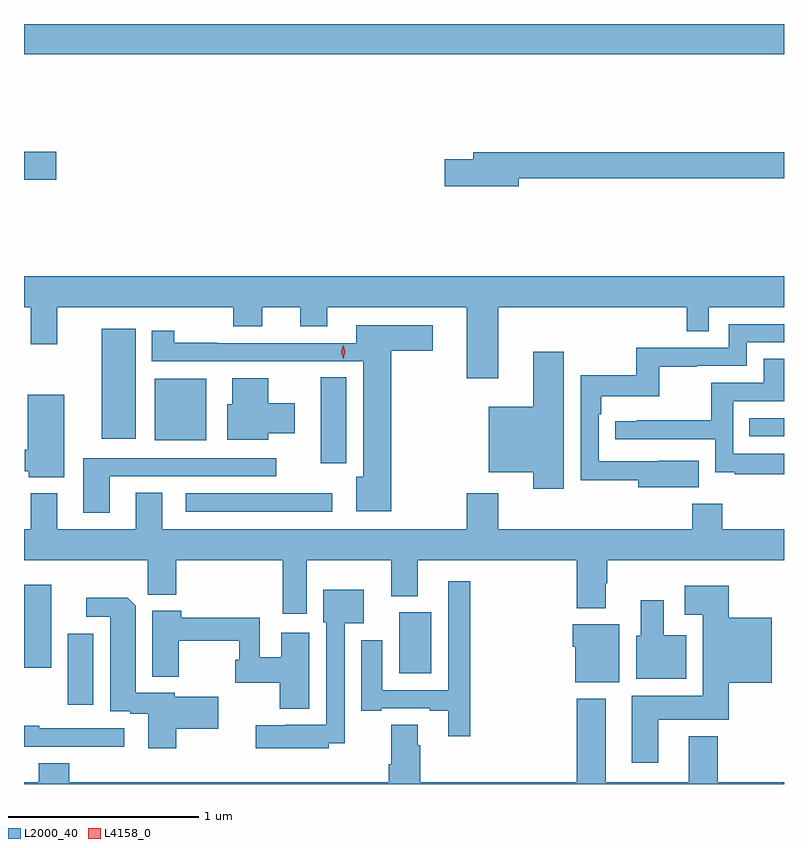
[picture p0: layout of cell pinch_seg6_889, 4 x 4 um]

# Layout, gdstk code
import gdstk
lib = gdstk.Library(unit=1e-6, precision=1e-09)
def R(c, l, rs):  # rectangles x0, y0, x1, y1
    for r in rs: c.add(gdstk.rectangle(r[:2], r[2:], *l))
def P(c, l, *ps):  # polygons
    for p in ps: c.add(gdstk.Polygon(p, *l))
L2000_40 = (2000, 40)
L4158_0 = (4158, 0)

pinch_seg6_889 = lib.new_cell('pinch_seg6_889')
R(pinch_seg6_889, L2000_40, [(366.704,922.599,366.838,922.975), (368.447,922.766,368.617,923.086), (366.473,922.794,366.616,923.233), (367.323,923.616,368.095,923.712), (368.036,923.871,368.17,924.323), (367.16,923.993,367.432,924.316), (366.881,923.999,367.06,924.58), (370.291,924.012,370.473,924.108), (366.473,925.364,366.643,925.511), (366.473,926.024,370.473,926.183)])
P(pinch_seg6_889, L2000_40, [(369.076,925.372),(370.473,925.372),(370.473,925.508),(368.837,925.508),(368.837,925.472),(368.688,925.472),(368.688,925.33),(369.076,925.33)],
  [(366.473,924.692),(366.509,924.692),(366.509,924.498),(366.649,924.498),(366.649,924.692),(367.574,924.692),(367.574,924.593),(367.726,924.593),(367.726,924.692),(367.928,924.692),(367.928,924.593),(368.068,924.593),(368.068,924.692),(368.804,924.692),(368.804,924.318),(368.968,924.318),(368.968,924.692),(369.961,924.692),(369.961,924.565),(370.077,924.565),(370.077,924.692),(370.473,924.692),(370.473,924.856),(366.473,924.856)],
  [(370.025,923.884),(369.811,923.884),(369.811,923.883),(369.498,923.883),(369.498,924.128),(369.512,924.128),(369.512,924.224),(369.817,924.224),(369.817,924.379),(370.013,924.379),(370.013,924.384),(370.278,924.384),(370.278,924.507),(370.473,924.507),(370.473,924.603),(370.182,924.603),(370.182,924.48),(369.696,924.48),(369.696,924.334),(369.402,924.334),(369.402,923.782),(369.707,923.782),(369.707,923.744),(370.025,923.744)],
  [(368.405,924.464),(368.623,924.464),(368.623,924.598),(368.222,924.598),(368.222,924.504),(367.49,924.504),(367.49,924.506),(367.263,924.506),(367.263,924.568),(367.145,924.568),(367.145,924.408),(368.258,924.408),(368.258,923.8),(368.222,923.8),(368.222,923.618),(368.405,923.618)],
  [(369.313,924.457),(369.152,924.457),(369.152,924.169),(368.918,924.169),(368.918,923.825),(369.152,923.825),(369.152,923.736),(369.313,923.736)],
  [(370.473,923.922),(370.206,923.922),(370.206,924.198),(370.473,924.198),(370.473,924.422),(370.367,924.422),(370.367,924.294),(370.09,924.294),(370.09,924.098),(369.697,924.098),(369.697,924.093),(369.585,924.093),(369.585,923.997),(370.11,923.997),(370.11,923.825),(370.213,923.825),(370.213,923.814),(370.473,923.814)],
  [(367.759,924.029),(367.897,924.029),(367.897,924.187),(367.759,924.187),(367.759,924.319),(367.568,924.319),(367.568,924.183),(367.544,924.183),(367.544,923.996),(367.759,923.996)],
  [(366.685,924.232),(366.494,924.232),(366.494,923.943),(366.476,923.943),(366.476,923.829),(366.498,923.829),(366.498,923.798),(366.685,923.798)],
  [(366.925,923.802),(367.801,923.802),(367.801,923.898),(366.785,923.898),(366.785,923.61),(366.925,923.61)],
  [(367.061,923.524),(366.649,923.524),(366.649,923.713),(366.509,923.713),(366.509,923.524),(366.473,923.524),(366.473,923.36),(367.123,923.36),(367.123,923.179),(367.274,923.179),(367.274,923.36),(367.835,923.36),(367.835,923.079),(367.96,923.079),(367.96,923.36),(368.405,923.36),(368.405,923.171),(368.545,923.171),(368.545,923.36),(369.383,923.36),(369.383,923.108),(369.535,923.108),(369.535,923.24),(369.543,923.24),(369.543,923.36),(370.473,923.36),(370.473,923.524),(370.149,923.524),(370.149,923.659),(369.989,923.659),(369.989,923.524),(368.968,923.524),(368.968,923.713),(368.804,923.713),(368.804,923.524),(367.201,923.524),(367.201,923.717),(367.061,923.717)],
  [(368.822,923.251),(368.706,923.251),(368.706,922.677),(368.359,922.677),(368.359,922.939),(368.249,922.939),(368.249,922.569),(368.353,922.569),(368.353,922.581),(368.609,922.581),(368.609,922.569),(368.705,922.569),(368.705,922.434),(368.822,922.434)],
  [(369.811,922.52),(370.181,922.52),(370.181,922.715),(370.408,922.715),(370.408,923.059),(370.181,923.059),(370.181,923.227),(369.951,923.227),(369.951,923.075),(370.046,923.075),(370.046,922.648),(369.671,922.648),(369.671,922.296),(369.811,922.296)],
  [(368.076,922.397),(368.16,922.397),(368.16,923.03),(368.26,923.03),(368.26,923.206),(368.048,923.206),(368.048,923.034),(368.064,923.034),(368.064,922.494),(367.848,922.494),(367.848,922.492),(367.692,922.492),(367.692,922.37),(368.076,922.37)],
  [(367.275,922.475),(367.495,922.475),(367.495,922.641),(367.267,922.641),(367.267,922.662),(367.06,922.662),(367.06,923.12),(367.019,923.162),(366.801,923.162),(366.801,923.064),(366.926,923.064),(366.926,922.566),(367.031,922.566),(367.031,922.554),(367.127,922.554),(367.127,922.371),(367.275,922.371)],
  [(369.958,922.966),(369.841,922.966),(369.841,923.149),(369.719,923.149),(369.719,922.962),(369.695,922.962),(369.695,922.736),(369.958,922.736)],
  [(367.975,922.978),(367.826,922.978),(367.826,922.85),(367.713,922.85),(367.713,923.059),(367.301,923.059),(367.301,923.094),(367.148,923.094),(367.148,922.747),(367.288,922.747),(367.288,922.938),(367.605,922.938),(367.605,922.837),(367.586,922.837),(367.586,922.715),(367.819,922.715),(367.819,922.58),(367.975,922.58)],
  [(369.607,923.023),(369.362,923.023),(369.362,922.905),(369.374,922.905),(369.374,922.718),(369.607,922.718)],
  [(370.473,922.192),(370.124,922.192),(370.124,922.435),(369.971,922.435),(369.971,922.192),(369.535,922.192),(369.535,922.633),(369.383,922.633),(369.383,922.192),(368.558,922.192),(368.558,922.388),(368.545,922.388),(368.545,922.496),(368.405,922.496),(368.405,922.288),(368.393,922.288),(368.393,922.192),(366.71,922.192),(366.71,922.291),(366.55,922.291),(366.55,922.192),(366.473,922.192),(366.473,922.183),(370.473,922.183)],
  [(367,922.476),(366.553,922.476),(366.553,922.489),(366.473,922.489),(366.473,922.38),(367,922.38)])
P(pinch_seg6_889, L4158_0, [(368.154,924.421),(368.154,924.421),(368.144,924.457),(368.153,924.492),(368.154,924.493),(368.154,924.492),(368.164,924.457),(368.154,924.421)])

lib.write_gds('pinch_seg6_889.gds')
